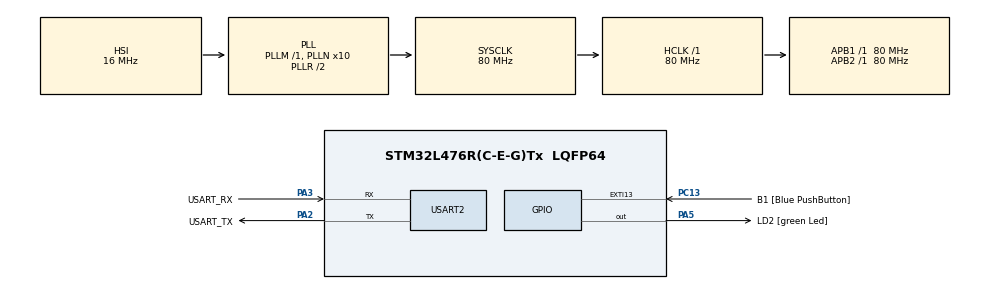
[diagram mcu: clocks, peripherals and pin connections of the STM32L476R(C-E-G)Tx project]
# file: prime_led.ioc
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Mcu.Family=STM32L4
Mcu.Name=STM32L476R(C-E-G)Tx
Mcu.Package=LQFP64
NVIC.PriorityGroup=NVIC_PRIORITYGROUP_4
PA13\ (JTMS-SWDIO).GPIO_Label=TMS
PA13\ (JTMS-SWDIO).Mode=Serial_Wire
PA13\ (JTMS-SWDIO).Signal=SYS_JTMS-SWDIO
PA14\ (JTCK-SWCLK).GPIO_Label=TCK
PA14\ (JTCK-SWCLK).Mode=Serial_Wire
PA14\ (JTCK-SWCLK).Signal=SYS_JTCK-SWCLK
PA2.GPIO_Label=USART_TX
PA2.GPIO_Mode=GPIO_MODE_AF_PP
PA2.GPIO_PuPd=GPIO_NOPULL
PA2.GPIO_Speed=GPIO_SPEED_FREQ_VERY_HIGH
PA2.Mode=Asynchronous
PA2.Signal=USART2_TX
PA3.GPIO_Label=USART_RX
PA3.GPIO_Mode=GPIO_MODE_AF_PP
PA3.GPIO_PuPd=GPIO_NOPULL
PA3.GPIO_Speed=GPIO_SPEED_FREQ_VERY_HIGH
PA3.Mode=Asynchronous
PA3.Signal=USART2_RX
PA5.GPIO_Label=LD2 [green Led]
PA5.GPIO_ModeDefaultOutputPP=GPIO_MODE_OUTPUT_PP
PA5.GPIO_PuPd=GPIO_NOPULL
PA5.GPIO_Speed=GPIO_SPEED_FREQ_LOW
PA5.Signal=GPIO_Output
PB3\ (JTDO-TRACESWO).GPIO_Label=SWO
PB3\ (JTDO-TRACESWO).Signal=SYS_JTDO-SWO
PC13.GPIO_Label=B1 [Blue PushButton]
PC13.GPIO_ModeDefaultEXTI=GPIO_MODE_IT_FALLING
PC13.GPIO_PuPd=GPIO_NOPULL
PC13.Signal=GPXTI13
PC14-OSC32_IN\ (PC14).Mode=LSE-External-Oscillator
PC14-OSC32_IN\ (PC14).Signal=RCC_OSC32_IN
PC15-OSC32_OUT\ (PC15).Mode=LSE-External-Oscillator
PC15-OSC32_OUT\ (PC15).Signal=RCC_OSC32_OUT
PH0-OSC_IN\ (PH0).Signal=RCC_OSC_IN
PH1-OSC_OUT\ (PH1).Signal=RCC_OSC_OUT
ProjectManager.HeapSize=0x200
ProjectManager.StackSize=0x400
ProjectManager.TargetToolchain=SW4STM32
RCC.ADCFreq_Value=64000000
RCC.AHBFreq_Value=80000000
RCC.APB1Freq_Value=80000000
RCC.APB1TimFreq_Value=80000000
RCC.APB2Freq_Value=80000000
RCC.APB2TimFreq_Value=80000000
RCC.CortexFreq_Value=80000000
RCC.HCLKFreq_Value=80000000
RCC.HSE_VALUE=8000000
RCC.HSI_VALUE=16000000
RCC.MSI_VALUE=4000000
RCC.PLLN=10
RCC.PLLSourceVirtual=RCC_PLLSOURCE_HSI
RCC.PREFETCH_ENABLE=1
RCC.SYSCLKFreq_VALUE=80000000
RCC.SYSCLKSource=RCC_SYSCLKSOURCE_PLLCLK
RCC.USBFreq_Value=64000000
RCC.VCOOutputFreq_Value=160000000
USART2.VirtualMode-Asynchronous=VM_ASYNC
board=NUCLEO-L476RG

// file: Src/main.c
/* USER CODE BEGIN Header */
/**
  ******************************************************************************
  * @file           : main.c
  * @brief          : Main program body
  ******************************************************************************
  * @attention
  *
  * <h2><center>&copy; Copyright (c) 2020 STMicroelectronics.
  * All rights reserved.</center></h2>
  *
  * This software component is licensed by ST under BSD 3-Clause license,
  * the "License"; You may not use this file except in compliance with the
  * License. You may obtain a copy of the License at:
  *                        opensource.org/licenses/BSD-3-Clause
  *
  ******************************************************************************
  */
/* USER CODE END Header */

#include "main.h"

/* USER CODE BEGIN Includes */
#include <stdlib.h>
#ifndef true
#define true 1U
#endif
#ifndef false
#define false 0U
#endif
/* USER CODE END Includes */

UART_HandleTypeDef huart2;

void SystemClock_Config(void);
static void MX_GPIO_Init(void);
static void MX_USART2_UART_Init(void);

/* USER CODE BEGIN 0 */
uint8_t is_prime( uint32_t );
uint32_t create_random( void );
/* USER CODE END 0 */

int main(void)
{

  /* MCU Configuration--------------------------------------------------------*/

  /* Reset of all peripherals, Initializes the Flash interface and the Systick. */
  HAL_Init();

  /* Configure the system clock */
  SystemClock_Config();

  /* Initialize all configured peripherals */
  MX_GPIO_Init();
  MX_USART2_UART_Init();

  /* Infinite loop */
  while (1)
  {
    for( uint32_t i = 0;i < 1000U;++i ) {
        if( is_prime(i) ) {
            HAL_GPIO_TogglePin( GPIOA , GPIO_PIN_5 );
            HAL_Delay( (uint32_t)i );
        }
    }
  }
}

void SystemClock_Config(void)
{
  RCC_OscInitTypeDef RCC_OscInitStruct = {0};
  RCC_ClkInitTypeDef RCC_ClkInitStruct = {0};
  RCC_PeriphCLKInitTypeDef PeriphClkInit = {0};

  /** Initializes the CPU, AHB and APB busses clocks
  */
  RCC_OscInitStruct.OscillatorType = RCC_OSCILLATORTYPE_HSI;
  RCC_OscInitStruct.HSIState = RCC_HSI_ON;
  RCC_OscInitStruct.HSICalibrationValue = RCC_HSICALIBRATION_DEFAULT;
  RCC_OscInitStruct.PLL.PLLState = RCC_PLL_ON;
  RCC_OscInitStruct.PLL.PLLSource = RCC_PLLSOURCE_HSI;
  RCC_OscInitStruct.PLL.PLLM = 1;
  RCC_OscInitStruct.PLL.PLLN = 10;
  RCC_OscInitStruct.PLL.PLLP = RCC_PLLP_DIV7;
  RCC_OscInitStruct.PLL.PLLQ = RCC_PLLQ_DIV2;
  RCC_OscInitStruct.PLL.PLLR = RCC_PLLR_DIV2;
  if (HAL_RCC_OscConfig(&RCC_OscInitStruct) != HAL_OK)
  {
    Error_Handler();
  }
  /** Initializes the CPU, AHB and APB busses clocks
  */
  RCC_ClkInitStruct.ClockType = RCC_CLOCKTYPE_HCLK|RCC_CLOCKTYPE_SYSCLK
                              |RCC_CLOCKTYPE_PCLK1|RCC_CLOCKTYPE_PCLK2;
  RCC_ClkInitStruct.SYSCLKSource = RCC_SYSCLKSOURCE_PLLCLK;
  RCC_ClkInitStruct.AHBCLKDivider = RCC_SYSCLK_DIV1;
  RCC_ClkInitStruct.APB1CLKDivider = RCC_HCLK_DIV1;
  RCC_ClkInitStruct.APB2CLKDivider = RCC_HCLK_DIV1;

  if (HAL_RCC_ClockConfig(&RCC_ClkInitStruct, FLASH_LATENCY_4) != HAL_OK)
  {
    Error_Handler();
  }
  PeriphClkInit.PeriphClockSelection = RCC_PERIPHCLK_USART2;
  PeriphClkInit.Usart2ClockSelection = RCC_USART2CLKSOURCE_PCLK1;
  if (HAL_RCCEx_PeriphCLKConfig(&PeriphClkInit) != HAL_OK)
  {
    Error_Handler();
  }
  /** Configure the main internal regulator output voltage
  */
  if (HAL_PWREx_ControlVoltageScaling(PWR_REGULATOR_VOLTAGE_SCALE1) != HAL_OK)
  {
    Error_Handler();
  }
}

static void MX_USART2_UART_Init(void)
{

  huart2.Instance = USART2;
  huart2.Init.BaudRate = 115200;
  huart2.Init.WordLength = UART_WORDLENGTH_8B;
  huart2.Init.StopBits = UART_STOPBITS_1;
  huart2.Init.Parity = UART_PARITY_NONE;
  huart2.Init.Mode = UART_MODE_TX_RX;
  huart2.Init.HwFlowCtl = UART_HWCONTROL_NONE;
  huart2.Init.OverSampling = UART_OVERSAMPLING_16;
  huart2.Init.OneBitSampling = UART_ONE_BIT_SAMPLE_DISABLE;
  huart2.AdvancedInit.AdvFeatureInit = UART_ADVFEATURE_NO_INIT;
  if (HAL_UART_Init(&huart2) != HAL_OK)
  {
    Error_Handler();
  }

}

static void MX_GPIO_Init(void)
{
  GPIO_InitTypeDef GPIO_InitStruct = {0};

  /* GPIO Ports Clock Enable */
  __HAL_RCC_GPIOC_CLK_ENABLE();
  __HAL_RCC_GPIOH_CLK_ENABLE();
  __HAL_RCC_GPIOA_CLK_ENABLE();
  __HAL_RCC_GPIOB_CLK_ENABLE();

  /*Configure GPIO pin Output Level */
  HAL_GPIO_WritePin(LD2_GPIO_Port, LD2_Pin, GPIO_PIN_RESET);

  /*Configure GPIO pin : B1_Pin */
  GPIO_InitStruct.Pin = B1_Pin;
  GPIO_InitStruct.Mode = GPIO_MODE_IT_FALLING;
  GPIO_InitStruct.Pull = GPIO_NOPULL;
  HAL_GPIO_Init(B1_GPIO_Port, &GPIO_InitStruct);

  /*Configure GPIO pin : LD2_Pin */
  GPIO_InitStruct.Pin = LD2_Pin;
  GPIO_InitStruct.Mode = GPIO_MODE_OUTPUT_PP;
  GPIO_InitStruct.Pull = GPIO_NOPULL;
  GPIO_InitStruct.Speed = GPIO_SPEED_FREQ_LOW;
  HAL_GPIO_Init(LD2_GPIO_Port, &GPIO_InitStruct);

}

/* USER CODE BEGIN 4 */
uint8_t is_prime( uint32_t value )
{
    if( value == 1 ) {
        return false;
    }
    else if( value == 2 || value == 3 ) {
        return true;
    } else if( value % 2 == 0 || value % 3 == 0 ) {
        return false;
    }
    else {
        for(unsigned int i = 5;i*i < value;i += 6 ) {
            if( value % i == 0 || value % ( i + 2 ) == 0 ) {
                return false;
            }
        }
    }
    return true;
}
uint32_t create_random( void )
{
    return (uint32_t)rand() % 500;
}
/* USER CODE END 4 */

void Error_Handler(void)
{
  /* USER CODE BEGIN Error_Handler_Debug */
  /* User can add his own implementation to report the HAL error return state */
  HAL_GPIO_TogglePin( GPIOA , GPIO_PIN_5 );
  HAL_Delay( 10 );
  /* USER CODE END Error_Handler_Debug */
}

/************************ (C) COPYRIGHT STMicroelectronics *****END OF FILE****/
